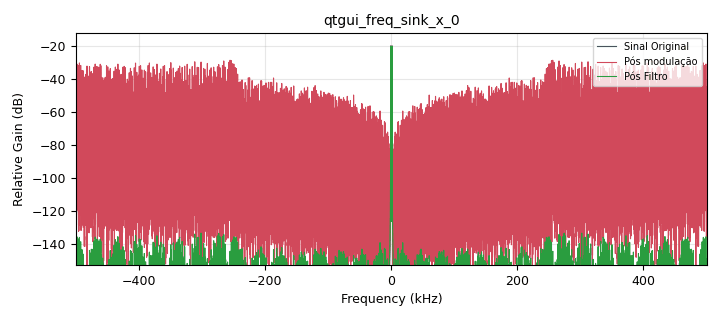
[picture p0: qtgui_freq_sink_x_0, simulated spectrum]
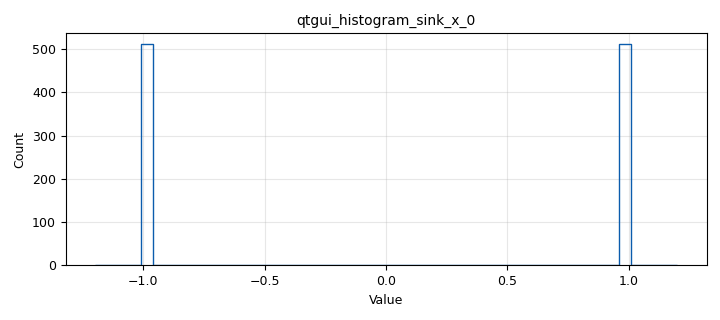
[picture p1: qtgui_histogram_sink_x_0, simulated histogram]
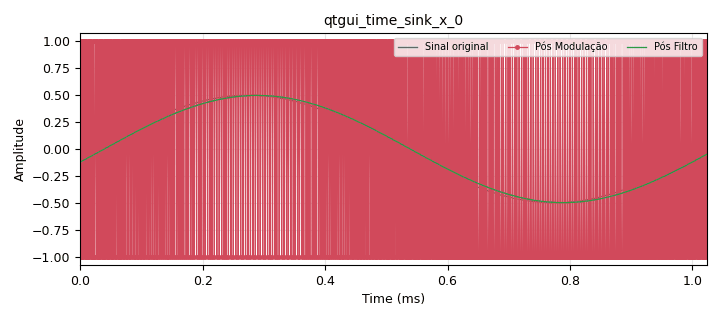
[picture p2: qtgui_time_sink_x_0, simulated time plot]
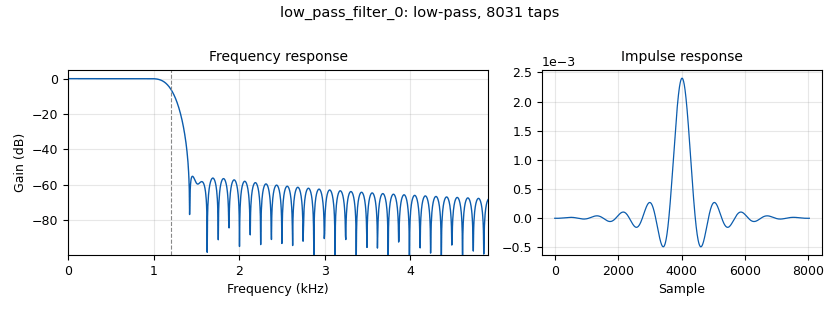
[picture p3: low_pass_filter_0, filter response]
options:
  parameters:
    author: vitor
    generate_options: qt_gui
    id: testeSigmaDelta
    output_language: python
    title: Not titled yet
  states: {}

blocks:
- name: samp_rate
  id: variable
  parameters:
    value: '1000000'
  states: {}
- name: analog_sig_source_x_0
  id: analog_sig_source_x
  parameters:
    amp: '0.5'
    freq: '1000'
    offset: '0'
    phase: '0'
    samp_rate: samp_rate
    type: float
    waveform: analog.GR_SIN_WAVE
  states: {}
- name: blocks_float_to_complex_0
  id: blocks_float_to_complex
  parameters: {}
  states: {state: disabled}
- name: epy_block_0
  id: epy_block
  parameters:
    _source_code: |
      import numpy as np
      from gnuradio import gr

      class blk(gr.sync_block):
          def __init__(self):
              gr.sync_block.__init__(
                  self,
                  name="Sigma-Delta 1st Order",
                  in_sig=[np.float32],
                  out_sig=[np.float32]
              )
              # Estados internos
              self.integrator = 0.0
              self.feedback = 0.0

          def work(self, input_items, output_items):
              x = input_items[0]
              y = output_items[0]

              for i in range(len(x)):
                  # Integra o erro
                  self.integrator += x[i] - self.feedback

                  # Quantizador 1-bit
                  if self.integrator >= 0:
                      y[i] = 1.0
                  else:
                      y[i] = -1.0

                  # Feedback
                  self.feedback = y[i]

              return len(y)
  states: {}
- name: low_pass_filter_0
  id: low_pass_filter
  parameters:
    cutoff_freq: '1200'
    decim: '1'
    gain: '1'
    samp_rate: samp_rate
    type: fir_filter_fff
    width: '300'
    win: window.WIN_HAMMING
  states: {}
- name: qtgui_const_sink_x_0
  id: qtgui_const_sink_x
  parameters:
    autoscale: 'True'
    size: '1024'
    type: complex
  states: {state: disabled}
- name: qtgui_freq_sink_x_0
  id: qtgui_freq_sink_x
  parameters:
    autoscale: 'True'
    bw: samp_rate
    color2: '"dark blue"'
    ctrlpanel: 'True'
    fc: '0'
    fftsize: '32768'
    grid: 'True'
    label1: Sinal Original
    label2: Pós modulação
    label3: Pós Filtro
    nconnections: '3'
    type: float
    wintype: window.WIN_BLACKMAN
  states: {}
- name: qtgui_histogram_sink_x_0
  id: qtgui_histogram_sink_x
  parameters:
    autoscale: 'False'
    bins: '50'
    size: '1024'
    type: float
    xmax: '1.2'
    xmin: '-1.2'
  states: {}
- name: qtgui_time_sink_x_0
  id: qtgui_time_sink_x
  parameters:
    ctrlpanel: 'True'
    label1: Sinal original
    label2: Pós Modulação
    label3: Pós Filtro
    marker2: '0'
    nconnections: '3'
    size: '1024'
    srate: samp_rate
    style2: '3'
    type: float
    update_time: '0.1'
  states: {}

connections:
- [analog_sig_source_x_0, '0', epy_block_0, '0']
- [analog_sig_source_x_0, '0', qtgui_freq_sink_x_0, '0']
- [analog_sig_source_x_0, '0', qtgui_time_sink_x_0, '0']
- [blocks_float_to_complex_0, '0', qtgui_const_sink_x_0, '0']
- [epy_block_0, '0', blocks_float_to_complex_0, '0']
- [epy_block_0, '0', low_pass_filter_0, '0']
- [epy_block_0, '0', qtgui_freq_sink_x_0, '1']
- [epy_block_0, '0', qtgui_histogram_sink_x_0, '0']
- [epy_block_0, '0', qtgui_time_sink_x_0, '1']
- [low_pass_filter_0, '0', qtgui_freq_sink_x_0, '2']
- [low_pass_filter_0, '0', qtgui_time_sink_x_0, '2']

metadata:
  file_format: 1
  grc_version: 3.10.12.0
